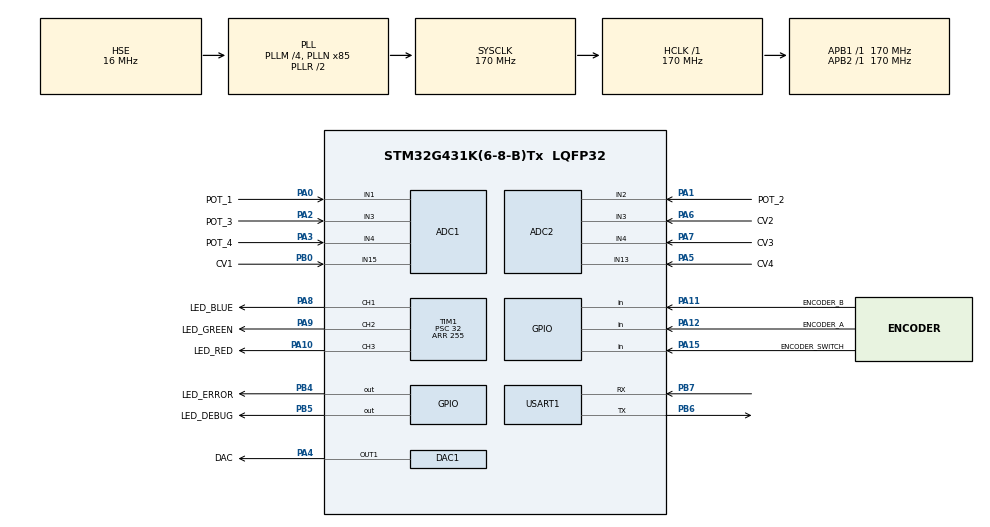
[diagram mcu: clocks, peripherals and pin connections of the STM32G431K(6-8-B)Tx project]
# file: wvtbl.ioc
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ADC1.Channel-0\#ChannelRegularConversion=ADC_CHANNEL_1
ADC1.Channel-1\#ChannelRegularConversion=ADC_CHANNEL_3
ADC1.Channel-2\#ChannelRegularConversion=ADC_CHANNEL_4
ADC1.Channel-3\#ChannelRegularConversion=ADC_CHANNEL_15
ADC1.ClockPrescaler=ADC_CLOCK_SYNC_PCLK_DIV4
ADC1.DMAAccessModeView=ENABLE
ADC1.DMAContinuousRequests=ENABLE
ADC1.EOCSelection=ADC_EOC_SEQ_CONV
ADC1.ExternalTrigConv=ADC_EXTERNALTRIG_T6_TRGO
ADC1.Mode=ADC_DUALMODE_REGSIMULT
ADC1.NbrOfConversion=4
ADC1.NbrOfConversionFlag=1
ADC1.OffsetNumber-0\#ChannelRegularConversion=ADC_OFFSET_NONE
ADC1.OffsetNumber-1\#ChannelRegularConversion=ADC_OFFSET_NONE
ADC1.OffsetNumber-2\#ChannelRegularConversion=ADC_OFFSET_NONE
ADC1.OffsetNumber-3\#ChannelRegularConversion=ADC_OFFSET_NONE
ADC1.Overrun=ADC_OVR_DATA_OVERWRITTEN
ADC1.Rank-0\#ChannelRegularConversion=1
ADC1.Rank-1\#ChannelRegularConversion=2
ADC1.Rank-2\#ChannelRegularConversion=3
ADC1.Rank-3\#ChannelRegularConversion=4
ADC1.SamplingTime-0\#ChannelRegularConversion=ADC_SAMPLETIME_47CYCLES_5
ADC1.SamplingTime-1\#ChannelRegularConversion=ADC_SAMPLETIME_47CYCLES_5
ADC1.SamplingTime-2\#ChannelRegularConversion=ADC_SAMPLETIME_47CYCLES_5
ADC1.SamplingTime-3\#ChannelRegularConversion=ADC_SAMPLETIME_2CYCLES_5
ADC1.master=1
ADC2.Channel-0\#ChannelRegularConversion=ADC_CHANNEL_2
ADC2.Channel-1\#ChannelRegularConversion=ADC_CHANNEL_3
ADC2.Channel-2\#ChannelRegularConversion=ADC_CHANNEL_4
ADC2.Channel-3\#ChannelRegularConversion=ADC_CHANNEL_13
ADC2.DMAAccessModeView=ENABLE
ADC2.EOCSelection=ADC_EOC_SEQ_CONV
ADC2.Mode=ADC_DUALMODE_REGSIMULT
ADC2.NbrOfConversion=4
ADC2.NbrOfConversionFlag=1
ADC2.OffsetNumber-0\#ChannelRegularConversion=ADC_OFFSET_NONE
ADC2.OffsetNumber-1\#ChannelRegularConversion=ADC_OFFSET_NONE
ADC2.OffsetNumber-2\#ChannelRegularConversion=ADC_OFFSET_NONE
ADC2.OffsetNumber-3\#ChannelRegularConversion=ADC_OFFSET_NONE
ADC2.Overrun=ADC_OVR_DATA_OVERWRITTEN
ADC2.Rank-0\#ChannelRegularConversion=1
ADC2.Rank-1\#ChannelRegularConversion=2
ADC2.Rank-2\#ChannelRegularConversion=3
ADC2.Rank-3\#ChannelRegularConversion=4
ADC2.SamplingTime-0\#ChannelRegularConversion=ADC_SAMPLETIME_47CYCLES_5
ADC2.SamplingTime-1\#ChannelRegularConversion=ADC_SAMPLETIME_47CYCLES_5
ADC2.SamplingTime-2\#ChannelRegularConversion=ADC_SAMPLETIME_47CYCLES_5
ADC2.SamplingTime-3\#ChannelRegularConversion=ADC_SAMPLETIME_2CYCLES_5
DAC1.DAC_SampleAndHold-DAC_OUT1=DAC_SAMPLEANDHOLD_DISABLE
DAC1.DAC_Trigger_OUT1-DAC_OUT1=DAC_TRIGGER_T7_TRGO
Dma.ADC1.0.Direction=DMA_PERIPH_TO_MEMORY
Dma.ADC1.0.EventEnable=DISABLE
Dma.ADC1.0.Instance=DMA1_Channel1
Dma.ADC1.0.MemDataAlignment=DMA_MDATAALIGN_WORD
Dma.ADC1.0.MemInc=DMA_MINC_ENABLE
Dma.ADC1.0.Mode=DMA_CIRCULAR
Dma.ADC1.0.PeriphDataAlignment=DMA_PDATAALIGN_WORD
Dma.ADC1.0.PeriphInc=DMA_PINC_DISABLE
Dma.ADC1.0.Polarity=HAL_DMAMUX_REQ_GEN_RISING
Dma.ADC1.0.Priority=DMA_PRIORITY_HIGH
Dma.ADC1.0.RequestNumber=1
Dma.ADC1.0.SignalID=NONE
Dma.ADC1.0.SyncEnable=DISABLE
Dma.ADC1.0.SyncPolarity=HAL_DMAMUX_SYNC_NO_EVENT
Dma.ADC1.0.SyncRequestNumber=1
Dma.ADC1.0.SyncSignalID=NONE
Dma.DAC1_CH1.1.Direction=DMA_MEMORY_TO_PERIPH
Dma.DAC1_CH1.1.EventEnable=DISABLE
Dma.DAC1_CH1.1.Instance=DMA1_Channel2
Dma.DAC1_CH1.1.MemDataAlignment=DMA_MDATAALIGN_WORD
Dma.DAC1_CH1.1.MemInc=DMA_MINC_ENABLE
Dma.DAC1_CH1.1.Mode=DMA_CIRCULAR
Dma.DAC1_CH1.1.PeriphDataAlignment=DMA_PDATAALIGN_WORD
Dma.DAC1_CH1.1.PeriphInc=DMA_PINC_DISABLE
Dma.DAC1_CH1.1.Polarity=HAL_DMAMUX_REQ_GEN_RISING
Dma.DAC1_CH1.1.Priority=DMA_PRIORITY_VERY_HIGH
Dma.DAC1_CH1.1.RequestNumber=1
Dma.DAC1_CH1.1.SignalID=NONE
Dma.DAC1_CH1.1.SyncEnable=DISABLE
Dma.DAC1_CH1.1.SyncPolarity=HAL_DMAMUX_SYNC_NO_EVENT
Dma.DAC1_CH1.1.SyncRequestNumber=1
Dma.DAC1_CH1.1.SyncSignalID=NONE
Dma.Request0=ADC1
Dma.Request1=DAC1_CH1
Mcu.Family=STM32G4
Mcu.Name=STM32G431K(6-8-B)Tx
Mcu.Package=LQFP32
NVIC.ADC1_2_IRQn=true\:5\:0\:true\:false\:true\:true\:true\:true
NVIC.DMA1_Channel1_IRQn=true\:2\:0\:true\:false\:true\:false\:true\:true
NVIC.DMA1_Channel2_IRQn=true\:0\:0\:false\:false\:true\:false\:true\:true
NVIC.PriorityGroup=NVIC_PRIORITYGROUP_4
PA0.GPIO_Label=POT_1
PA0.Mode=IN1-Single-Ended
PA0.Signal=ADC1_IN1
PA1.GPIO_Label=POT_2
PA1.Mode=IN2-Single-Ended
PA1.Signal=ADC2_IN2
PA10.GPIO_Label=LED_RED
PA10.Signal=S_TIM1_CH3
PA11.GPIO_Label=ENCODER_B
PA11.Signal=GPIO_Input
PA12.GPIO_Label=ENCODER_A
PA12.Signal=GPIO_Input
PA13.Mode=Trace_Asynchronous_SW
PA13.Signal=SYS_JTMS-SWDIO
PA14.Mode=Trace_Asynchronous_SW
PA14.Signal=SYS_JTCK-SWCLK
PA15.GPIO_Label=ENCODER_SWITCH
PA15.Signal=GPIO_Input
PA2.GPIO_Label=POT_3
PA2.Mode=IN3-Single-Ended
PA2.Signal=ADC1_IN3
PA3.GPIO_Label=POT_4
PA3.Mode=IN4-Single-Ended
PA3.Signal=ADC1_IN4
PA4.GPIO_Label=DAC
PA4.Signal=SharedAnalog_PA4
PA5.GPIO_Label=CV4
PA5.Mode=IN13-Single-Ended
PA5.Signal=ADC2_IN13
PA6.GPIO_Label=CV2
PA6.Mode=IN3-Single-Ended
PA6.Signal=ADC2_IN3
PA7.GPIO_Label=CV3
PA7.Mode=IN4-Single-Ended
PA7.Signal=ADC2_IN4
PA8.GPIO_Label=LED_BLUE
PA8.Signal=S_TIM1_CH1
PA9.GPIO_Label=LED_GREEN
PA9.Signal=S_TIM1_CH2
PB0.GPIO_Label=CV1
PB0.Mode=IN15-Single-Ended
PB0.Signal=ADC1_IN15
PB3.Mode=Trace_Asynchronous_SW
PB3.Signal=SYS_JTDO-SWO
PB4.GPIO_Label=LED_ERROR
PB4.Signal=GPIO_Output
PB5.GPIO_Label=LED_DEBUG
PB5.Signal=GPIO_Output
PB6.Mode=Asynchronous
PB6.Signal=USART1_TX
PB7.Mode=Asynchronous
PB7.Signal=USART1_RX
PF0-OSC_IN.Mode=HSE-External-Oscillator
PF0-OSC_IN.Signal=RCC_OSC_IN
PF1-OSC_OUT.Mode=HSE-External-Oscillator
PF1-OSC_OUT.Signal=RCC_OSC_OUT
ProjectManager.HeapSize=0x200
ProjectManager.StackSize=0x400
ProjectManager.TargetToolchain=Makefile
RCC.ADC12Freq_Value=170000000
RCC.AHBFreq_Value=170000000
RCC.APB1Freq_Value=170000000
RCC.APB1TimFreq_Value=170000000
RCC.APB2Freq_Value=170000000
RCC.APB2TimFreq_Value=170000000
RCC.CortexFreq_Value=170000000
RCC.EXTERNAL_CLOCK_VALUE=12288000
RCC.HCLKFreq_Value=170000000
RCC.HSE_VALUE=16000000
RCC.HSI48_VALUE=48000000
RCC.HSI_VALUE=16000000
RCC.LSE_VALUE=32768
RCC.PLLM=RCC_PLLM_DIV4
RCC.PLLN=85
RCC.PLLSourceVirtual=RCC_PLLSOURCE_HSE
RCC.SYSCLKFreq_VALUE=170000000
RCC.SYSCLKSource=RCC_SYSCLKSOURCE_PLLCLK
RCC.USBFreq_Value=170000000
RCC.VCOOutputFreq_Value=340000000
SH.S_TIM1_CH1.0=TIM1_CH1,PWM Generation1 CH1
SH.S_TIM1_CH2.0=TIM1_CH2,PWM Generation2 CH2
SH.S_TIM1_CH3.0=TIM1_CH3,PWM Generation3 CH3
SH.SharedAnalog_PA4.0=ADC2_IN17
SH.SharedAnalog_PA4.1=DAC1_OUT1,DAC_OUT1
TIM1.Channel-PWM\ Generation1\ CH1=TIM_CHANNEL_1
TIM1.Channel-PWM\ Generation2\ CH2=TIM_CHANNEL_2
TIM1.Channel-PWM\ Generation3\ CH3=TIM_CHANNEL_3
TIM1.PeriodNoDither=255
TIM1.Prescaler=32
TIM1.PulseNoDither_1=255
TIM1.PulseNoDither_2=255
TIM1.PulseNoDither_3=255
TIM6.PeriodNoDither=999
TIM6.Prescaler=169
TIM6.TIM_MasterOutputTrigger=TIM_TRGO_UPDATE
TIM7.PeriodNoDither=3541
TIM7.Prescaler=0
TIM7.TIM_MasterOutputTrigger=TIM_TRGO_UPDATE
USART1.VirtualMode-Asynchronous=VM_ASYNC
VP_SYS_VS_DBSignals.Mode=DisableDeadBatterySignals
VP_TIM6_VS_ClockSourceINT.Mode=Enable_Timer
VP_TIM7_VS_ClockSourceINT.Mode=Enable_Timer
board=custom

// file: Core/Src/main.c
/* USER CODE BEGIN Header */
/**
  ******************************************************************************
  * @file           : main.c
  * @brief          : Main program body
  ******************************************************************************
  * @attention
  *
  * Copyright (c) 2023 STMicroelectronics.
  * All rights reserved.
  *
  * This software is licensed under terms that can be found in the LICENSE file
  * in the root directory of this software component.
  * If no LICENSE file comes with this software, it is provided AS-IS.
  *
  ******************************************************************************
  */
/* USER CODE END Header */
#include "main.h"
#include "adc.h"
#include "dac.h"
#include "dma.h"
#include "tim.h"
#include "usart.h"
#include "gpio.h"

/* USER CODE BEGIN Includes */
#include <stdio.h>

#include "drv/led_pwm.h"
#include "drv/encoder.h"
#include "drv/analog.h"
#include "drv/eeprom.h"

#include "dsp/dsp.h"
/* USER CODE END Includes */

/* USER CODE BEGIN PTD */
typedef struct eeprom_save_struct
{
  int32_t encoder;
  float truc;
  float machin;
} eeprom_save_t;
/* USER CODE END PTD */

/* USER CODE BEGIN PD */
#define TIM_CHANNEL_BLUE TIM_CHANNEL_1
#define TIM_CHANNEL_GREEN TIM_CHANNEL_2
#define TIM_CHANNEL_RED TIM_CHANNEL_3

//#define ADC_BUFFER_LENGTH_WORDS (ADC_BUFFER_LENGTH/2)
/* USER CODE END PD */

/* USER CODE BEGIN PV */
h_led_pwm_t h_led_red = {
  .timer_handle = &htim1,
  .timer_channel = TIM_CHANNEL_RED
};

h_led_pwm_t h_led_green = {
  .timer_handle = &htim1,
  .timer_channel = TIM_CHANNEL_GREEN
};

h_led_pwm_t h_led_blue = {
  .timer_handle = &htim1,
  .timer_channel = TIM_CHANNEL_BLUE
};

h_encoder_t h_encoder = {
  .A_GPIOx = ENCODER_A_GPIO_Port,
  .A_GPIO_pin = ENCODER_A_Pin,
  .B_GPIOx = ENCODER_B_GPIO_Port,
  .B_GPIO_pin = ENCODER_B_Pin
};

h_analog_t h_analog = {
  .adc_handles = {&hadc1, &hadc2},
  .adc_timer_handle = &htim6,
  .dac_handle = &hdac1,
  .dac_timer_handle = &htim7,
  .dac_channel = DAC_CHANNEL_1
};

h_dsp_t h_dsp = {
  .sample_frequency = 47995.48277809147f
};

static eeprom_save_t eeprom_save;

/* USER CODE END PV */

void SystemClock_Config(void);

/* USER CODE BEGIN 0 */
int _write(int file, char *ptr, int len)
{
	(void) file;

	HAL_UART_Transmit(&huart1, (uint8_t *)ptr, (uint16_t) len, HAL_MAX_DELAY);

	return len;
}

// TODO Should be placed in drv/something
void read_switch(void)
{
	static uint8_t state_SW = 0;

	if (state_SW == 0)
	{
		if (HAL_GPIO_ReadPin(ENCODER_SWITCH_GPIO_Port, ENCODER_SWITCH_Pin) == GPIO_PIN_SET)
		{
      eeprom_save.encoder = encoder_value(&h_encoder);
      printf("Saving pitch %d...\r\n", eeprom_save.encoder);
      eeprom_write((void*)&eeprom_save, sizeof(eeprom_save_t));
      printf("Pitch saved...\r\n");

			state_SW = 1;
		}
	}
	else if (state_SW == 1)
	{
		if (HAL_GPIO_ReadPin(ENCODER_SWITCH_GPIO_Port, ENCODER_SWITCH_Pin) == GPIO_PIN_RESET)
		{
			state_SW = 0;
		}
	}
}

// Called every 1 ms
void HAL_ADC_ConvCpltCallback(ADC_HandleTypeDef *hadc)
{
  if (ADC1 == hadc->Instance)
  {
    HAL_GPIO_WritePin(LED_DEBUG_GPIO_Port, LED_DEBUG_Pin, GPIO_PIN_SET);

    encoder_process(&h_encoder);
		read_switch();

    int32_t x_param = 4095 - analog_get_adc(&h_analog, ANALOG_ADC_X_PARAM_INDEX);
    int32_t y_param = 4095 - analog_get_adc(&h_analog, ANALOG_ADC_Y_PARAM_INDEX);
    int32_t pitch = 4095 - analog_get_adc(&h_analog, ANALOG_ADC_PITCH_INPUT_INDEX);  // C0 = 2V = 2376LSB ; C2 = 4V = 2814LSB
    int32_t encoder = encoder_value(&h_encoder);
    int32_t x_input = 2047 - analog_get_adc(&h_analog, ANALOG_ADC_X_INPUT_INDEX);
    int32_t y_input = 2047 - analog_get_adc(&h_analog, ANALOG_ADC_Y_INPUT_INDEX);
    int32_t x_attv = 2047 - analog_get_adc(&h_analog, ANALOG_ADC_X_ATTV_INDEX);
    int32_t y_attv = 2047 - analog_get_adc(&h_analog, ANALOG_ADC_Y_ATTV_INDEX);

    h_dsp.params[PITCH_PARAM] = encoder;

    h_dsp.params[X_PARAM] = x_param;
    h_dsp.params[Y_PARAM] = y_param;
    h_dsp.inputs[PITCH_INPUT] = pitch;
    h_dsp.inputs[X_INPUT] = (x_input * x_attv) / 1024;
    h_dsp.inputs[Y_INPUT] = (y_input * y_attv) / 1024;

    int32_t x_bright = clamp((h_dsp.inputs[X_INPUT] + h_dsp.params[X_PARAM]), 0, 4095);
    int32_t y_bright = clamp((h_dsp.inputs[Y_INPUT] + h_dsp.params[Y_PARAM]), 0, 4095);

    led_pwm_set_brightness(&h_led_red, x_bright >> 4);
//    led_pwm_set_brightness(&h_led_green, encoder + 127);
    led_pwm_set_brightness(&h_led_green, 0);
    led_pwm_set_brightness(&h_led_blue, y_bright >> 4);

    HAL_GPIO_WritePin(LED_DEBUG_GPIO_Port, LED_DEBUG_Pin, GPIO_PIN_RESET);
  }
}

void HAL_DAC_ConvHalfCpltCallbackCh1(DAC_HandleTypeDef *hdac)
{
  if (DAC1 == hdac->Instance)
  {
    HAL_GPIO_WritePin(LED_ERROR_GPIO_Port, LED_ERROR_Pin, GPIO_PIN_SET);

    dsp_process(&h_dsp, h_analog.dac_buffer, DAC_BUFFER_SIZE/2);

    HAL_GPIO_WritePin(LED_ERROR_GPIO_Port, LED_ERROR_Pin, GPIO_PIN_RESET);
  }
}

void HAL_DAC_ConvCpltCallbackCh1(DAC_HandleTypeDef *hdac)
{
  if (DAC1 == hdac->Instance)
  {
    HAL_GPIO_WritePin(LED_ERROR_GPIO_Port, LED_ERROR_Pin, GPIO_PIN_SET);

    dsp_process(&h_dsp, &h_analog.dac_buffer[DAC_BUFFER_SIZE/2], DAC_BUFFER_SIZE/2);

    HAL_GPIO_WritePin(LED_ERROR_GPIO_Port, LED_ERROR_Pin, GPIO_PIN_RESET);
  }
}

/* USER CODE END 0 */

int main(void)
{

  /* MCU Configuration--------------------------------------------------------*/

  /* Reset of all peripherals, Initializes the Flash interface and the Systick. */
  HAL_Init();

  /* Configure the system clock */
  SystemClock_Config();

  /* Initialize all configured peripherals */
  MX_GPIO_Init();
  MX_DMA_Init();
  MX_ADC1_Init();
  MX_ADC2_Init();
  MX_DAC1_Init();
  MX_TIM1_Init();
  MX_USART1_UART_Init();
  MX_TIM6_Init();
  MX_TIM7_Init();
  /* USER CODE BEGIN 2 */
  printf("===== WVTBL =====\r\n");

  encoder_init(&h_encoder);
  dsp_init(&h_dsp);

  if (0 != led_pwm_init(&h_led_red))
  {
    Error_Handler();
  }
  if (0 != led_pwm_init(&h_led_green))
  {
    Error_Handler();
  }
  if (0 != led_pwm_init(&h_led_blue))
  {
    Error_Handler();
  }

  if (0 != analog_init(&h_analog))
  {
    Error_Handler();
  }
  /* USER CODE END 2 */

  /* Infinite loop */
  /* USER CODE BEGIN WHILE */

  // TODO
  // We want to be able to calibrate the v/oct input
  // If encoder is pressed, enter calibration mode
  // Blink one color (eg. blue) while calibrating, say 1V (C2)
  // Waits second encoder press
  // We might light green LED for 1 or 2 seconds to send feedback to the user
  // Blink another color (eg. red) while calibrating, say 3V (C4)

  eeprom_read((void*)&eeprom_save, sizeof(eeprom_save_t));
  printf("Encoder value: %d\r\n", eeprom_save.encoder);
  encoder_set(&h_encoder, eeprom_save.encoder);

  while (1)
  {
#ifdef DEBUG_ENCODER
    static int32_t value = 0;

    if (h_encoder.value != value)
    {
      value = h_encoder.value;
      printf("Encoder = %ld\r\n", value);
    }
#endif // DEBUG_ENCODER

  // 2V : ADC=2380
  // 4V : ADC=2818

    float voct_sub = 2380.f;
    float voct_div = (2818.f - 2380.f) / 2.f;
    float voct = ((float)(h_dsp.inputs[PITCH_INPUT]) - voct_sub) / voct_div;
    float blblbl = (voct - (int)voct) * 1000;

    printf("ADC = %ld, V/oct = %d.%03d\r\n", h_dsp.inputs[PITCH_INPUT], (int)voct, (int)blblbl);

    HAL_Delay(1000);
    // if (h_dsp.params[PITCH_PARAM] != pitch)
    // {
    //   pitch = h_dsp.params[PITCH_PARAM];
    //   printf("Pitch = %d\r\n", (int)pitch);
    // }

		// if (counter_SW != old_counter_SW)
		// {
		// 	old_counter_SW = counter_SW;
		// 	printf("SW=%ld\r\n", counter_SW);
		// }

    // for (int it = 0 ; it < 4 ; it++)
    // {
    //   int diff = potentiometers[it] - old_potentiometers[it];
    //   if ((diff > 10) || (diff < -10))
    //   {
    //     old_potentiometers[it] = potentiometers[it];

    //     printf("Pot[%d] = %u\r\n", it, potentiometers[it]);
    //   }
    // }

    /* USER CODE END WHILE */

  }
}

void SystemClock_Config(void)
{
  RCC_OscInitTypeDef RCC_OscInitStruct = {0};
  RCC_ClkInitTypeDef RCC_ClkInitStruct = {0};

  /** Configure the main internal regulator output voltage
  */
  HAL_PWREx_ControlVoltageScaling(PWR_REGULATOR_VOLTAGE_SCALE1_BOOST);

  /** Initializes the RCC Oscillators according to the specified parameters
  * in the RCC_OscInitTypeDef structure.
  */
  RCC_OscInitStruct.OscillatorType = RCC_OSCILLATORTYPE_HSE;
  RCC_OscInitStruct.HSEState = RCC_HSE_ON;
  RCC_OscInitStruct.PLL.PLLState = RCC_PLL_ON;
  RCC_OscInitStruct.PLL.PLLSource = RCC_PLLSOURCE_HSE;
  RCC_OscInitStruct.PLL.PLLM = RCC_PLLM_DIV4;
  RCC_OscInitStruct.PLL.PLLN = 85;
  RCC_OscInitStruct.PLL.PLLP = RCC_PLLP_DIV2;
  RCC_OscInitStruct.PLL.PLLQ = RCC_PLLQ_DIV2;
  RCC_OscInitStruct.PLL.PLLR = RCC_PLLR_DIV2;
  if (HAL_RCC_OscConfig(&RCC_OscInitStruct) != HAL_OK)
  {
    Error_Handler();
  }

  /** Initializes the CPU, AHB and APB buses clocks
  */
  RCC_ClkInitStruct.ClockType = RCC_CLOCKTYPE_HCLK|RCC_CLOCKTYPE_SYSCLK
                              |RCC_CLOCKTYPE_PCLK1|RCC_CLOCKTYPE_PCLK2;
  RCC_ClkInitStruct.SYSCLKSource = RCC_SYSCLKSOURCE_PLLCLK;
  RCC_ClkInitStruct.AHBCLKDivider = RCC_SYSCLK_DIV1;
  RCC_ClkInitStruct.APB1CLKDivider = RCC_HCLK_DIV1;
  RCC_ClkInitStruct.APB2CLKDivider = RCC_HCLK_DIV1;

  if (HAL_RCC_ClockConfig(&RCC_ClkInitStruct, FLASH_LATENCY_4) != HAL_OK)
  {
    Error_Handler();
  }
}

void Error_Handler(void)
{
  /* USER CODE BEGIN Error_Handler_Debug */
  /* User can add his own implementation to report the HAL error return state */
  __disable_irq();

  HAL_GPIO_WritePin(LED_ERROR_GPIO_Port, LED_ERROR_Pin, GPIO_PIN_SET);

  while (1)
  {
  }
  /* USER CODE END Error_Handler_Debug */
}
